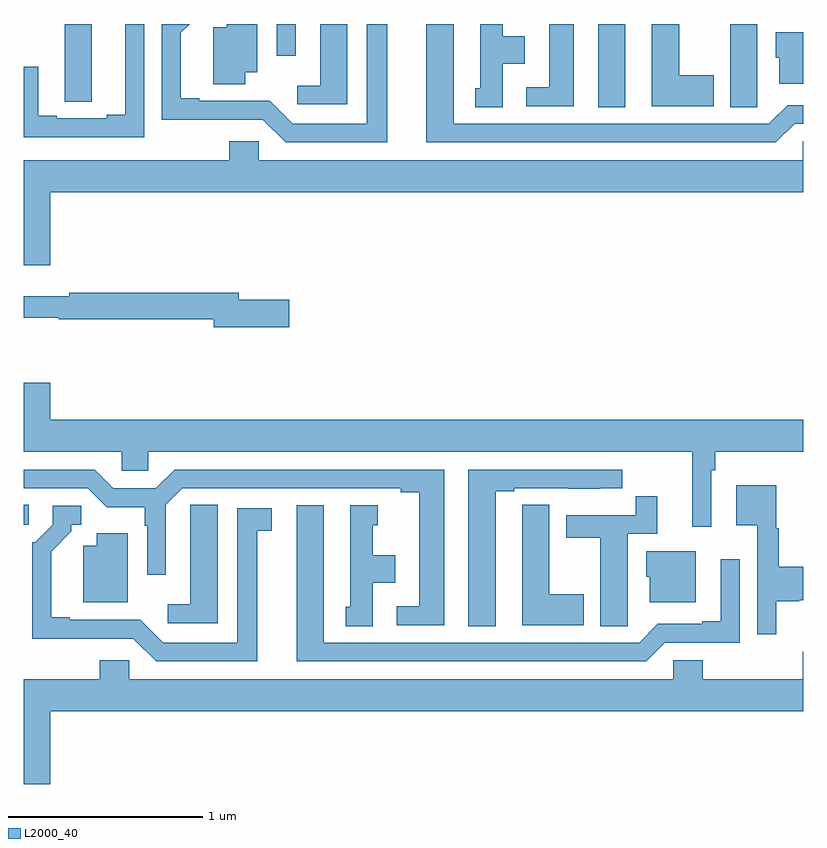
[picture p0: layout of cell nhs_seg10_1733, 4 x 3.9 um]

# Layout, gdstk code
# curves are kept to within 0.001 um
import gdstk
lib = gdstk.Library(unit=1e-6, precision=1e-09)
def R(c, l, rs):  # rectangles x0, y0, x1, y1
    for r in rs: c.add(gdstk.rectangle(r[:2], r[2:], *l))
def P(c, l, *ps):  # polygons
    for p in ps: c.add(gdstk.Polygon(p, *l))
L2000_40 = (2000, 40)

nhs_seg10_1733 = lib.new_cell('nhs_seg10_1733')
R(nhs_seg10_1733, L2000_40, [(201,1311.93,201.025,1312.031), (203.948,1314.073,204.088,1314.5), (202.299,1314.336,202.395,1314.5)])
P(nhs_seg10_1733, L2000_40, [(201.618,1314.5),(201.521,1314.5),(201.521,1314.035),(201.425,1314.035),(201.425,1314.015),(201.169,1314.015),(201.169,1314.03),(201.073,1314.03),(201.073,1314.281),(201,1314.281),(201,1313.919),(201.618,1313.919)],
  [(202.66,1314.5),(202.52,1314.5),(202.52,1314.184),(202.404,1314.184),(202.404,1314.087),(202.66,1314.087)],
  [(202.135,1314.251),(202.198,1314.251),(202.198,1314.5),(202.04,1314.5),(202.04,1314.484),(201.971,1314.484),(201.971,1314.19),(202.135,1314.19)],
  [(202.864,1314.5),(202.76,1314.5),(202.76,1313.988),(202.38,1313.988),(202.262,1314.106),(201.901,1314.105),(201.901,1314.118),(201.805,1314.118),(201.805,1314.454),(201.851,1314.5),(201.708,1314.5),(201.708,1314.008),(202.227,1314.009),(202.344,1313.892),(202.864,1313.892)],
  [(203.824,1314.5),(203.696,1314.5),(203.696,1314.174),(203.58,1314.174),(203.58,1314.078),(203.824,1314.078)],
  [(204.765,1314.184),(204.766,1314.184),(204.766,1314.5),(204.626,1314.5),(204.626,1314.073),(204.765,1314.073)],
  [(204.541,1314.237),(204.364,1314.237),(204.364,1314.5),(204.224,1314.5),(204.224,1314.077),(204.541,1314.077)],
  [(201.349,1314.5),(201.209,1314.5),(201.209,1314.208),(201.21,1314.208),(201.21,1314.1),(201.349,1314.1)],
  [(204.957,1313.988),(205,1313.988),(205,1314.084),(204.921,1314.084),(204.825,1313.988),(203.206,1313.988),(203.206,1314.5),(203.066,1314.5),(203.066,1313.892),(204.861,1313.892)],
  [(203.458,1314.296),(203.572,1314.296),(203.572,1314.436),(203.458,1314.436),(203.458,1314.5),(203.342,1314.5),(203.342,1314.171),(203.318,1314.171),(203.318,1314.073),(203.458,1314.073)],
  [(205,1314.457),(204.86,1314.457),(204.86,1314.327),(204.878,1314.327),(204.878,1314.194),(205,1314.194)],
  [(201.136,1313.636),(205,1313.636),(205,1313.898),(204.999,1313.898),(204.999,1313.8),(202.206,1313.8),(202.206,1313.898),(202.055,1313.898),(202.055,1313.8),(201,1313.8),(201,1313.262),(201.136,1313.262)],
  [(202.363,1313.084),(202.102,1313.084),(202.102,1313.12),(201.232,1313.12),(201.232,1313.101),(201,1313.101),(201,1312.992),(201.178,1312.992),(201.178,1312.984),(201.974,1312.984),(201.974,1312.942),(202.363,1312.942)],
  [(204.528,1312.208),(204.548,1312.208),(204.548,1312.304),(205,1312.304),(205,1312.468),(201.136,1312.468),(201.136,1312.657),(201,1312.657),(201,1312.304),(201.501,1312.304),(201.501,1312.206),(201.639,1312.206),(201.639,1312.304),(204.431,1312.304),(204.431,1311.918),(204.528,1311.918)],
  [(203.422,1312.101),(203.518,1312.101),(203.518,1312.116),(203.794,1312.116),(203.794,1312.115),(203.96,1312.115),(203.96,1312.116),(204.073,1312.116),(204.073,1312.212),(203.282,1312.212),(203.282,1311.409),(203.422,1311.409)],
  [(203.158,1312.212),(201.773,1312.212),(201.677,1312.116),(201.459,1312.116),(201.363,1312.212),(201,1312.212),(201,1312.116),(201.327,1312.116),(201.424,1312.019),(201.621,1312.019),(201.621,1311.923),(201.633,1311.923),(201.633,1311.672),(201.729,1311.672),(201.729,1312.032),(201.813,1312.116),(202.934,1312.116),(202.934,1312.096),(203.03,1312.096),(203.03,1311.51),(202.914,1311.51),(202.914,1311.414),(203.158,1311.414)],
  [(204.862,1311.535),(204.981,1311.535),(204.981,1311.542),(205,1311.542),(205,1311.713),(204.874,1311.713),(204.874,1311.912),(204.862,1311.912),(204.862,1312.132),(204.656,1312.132),(204.656,1311.926),(204.765,1311.926),(204.765,1311.366),(204.862,1311.366)],
  [(204.099,1311.52),(204.1,1311.52),(204.1,1311.882),(204.251,1311.882),(204.251,1312.075),(204.142,1312.075),(204.142,1311.978),(203.783,1311.978),(203.783,1311.862),(203.96,1311.862),(203.96,1311.409),(204.099,1311.409)],
  [(201.994,1312.031),(201.855,1312.031),(201.855,1311.923),(201.854,1311.923),(201.854,1311.52),(201.738,1311.52),(201.738,1311.423),(201.994,1311.423)],
  [(203.875,1311.573),(203.698,1311.573),(203.698,1312.031),(203.559,1312.031),(203.559,1311.923),(203.558,1311.923),(203.558,1311.413),(203.875,1311.413)],
  [(204.291,1311.324),(204.675,1311.324),(204.675,1311.751),(204.578,1311.751),(204.578,1311.433),(204.482,1311.433),(204.482,1311.42),(204.255,1311.42),(204.159,1311.324),(202.54,1311.324),(202.54,1312.03),(202.4,1312.03),(202.4,1311.228),(204.195,1311.228)],
  [(202.792,1311.632),(202.906,1311.632),(202.906,1311.772),(202.792,1311.772),(202.792,1311.927),(202.816,1311.927),(202.816,1312.03),(202.676,1312.03),(202.676,1311.507),(202.652,1311.507),(202.652,1311.409),(202.792,1311.409)],
  [(202.198,1311.898),(202.273,1311.898),(202.273,1312.014),(202.094,1312.014),(202.094,1311.324),(201.714,1311.324),(201.597,1311.441),(201.235,1311.441),(201.235,1311.454),(201.139,1311.454),(201.139,1311.79),(201.244,1311.895),(201.244,1311.93),(201.295,1311.93),(201.295,1312.026),(201.147,1312.026),(201.147,1311.93),(201.057,1311.84),(201.042,1311.84),(201.042,1311.344),(201.561,1311.345),(201.678,1311.228),(202.198,1311.228)],
  [(201.532,1311.886),(201.374,1311.886),(201.374,1311.82),(201.305,1311.82),(201.305,1311.53),(201.532,1311.53)],
  [(204.448,1311.793),(204.194,1311.793),(204.194,1311.663),(204.212,1311.663),(204.212,1311.53),(204.448,1311.53)],
  [(201.136,1310.972),(205,1310.972),(205,1311.278),(204.998,1311.278),(204.998,1311.136),(204.485,1311.136),(204.485,1311.234),(204.333,1311.234),(204.333,1311.136),(201.54,1311.136),(201.54,1311.234),(201.389,1311.234),(201.389,1311.136),(201,1311.136),(201,1310.598),(201.136,1310.598)])

lib.write_gds('nhs_seg10_1733.gds')
